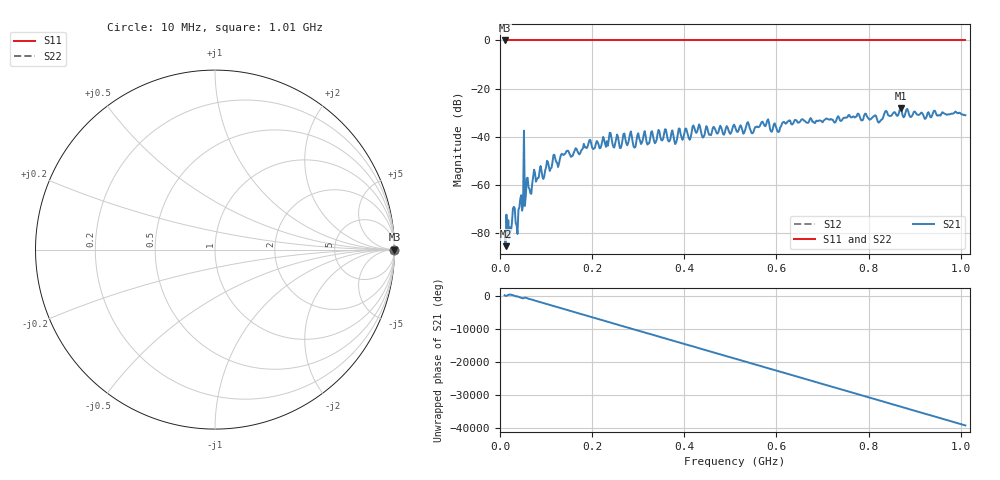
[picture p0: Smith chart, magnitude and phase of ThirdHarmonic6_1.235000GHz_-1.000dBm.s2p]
! 8/16/2025 1:04:42 PM
! C:\ANRITSUVNA\TEMP\TEMP.S2P
! CHANNEL.1
! TR.MEASUREMENT
! RAW.DATA
! RF.CORRECTION.OFF
! AVERAGING.OFF
! IF.BANDWIDTH: 5KHZ
! SWEEPTYPE:  FREQ.SWEEP(Linear)
! Reference Plane Port Info
! PORT:  PORT1  PORT2
! DISTANCE:  0  m  0  m
! TIME:  0  s  0  s
! PHASE.OFFSET:  0  deg.  0  deg.
! LOSS:  0  dB  0  dB
! REF.LOSS:  0  dB  0  dB
! REF.FREQ:  0  Hz  0  Hz
! Power Info
! POWER:  -20  dBm  -20  dBm
! EFF.POWER:  -20  dBm  -20  dBm
! SOURCE.ATTEN:  0  dB  0  dB
! TEST.ATTEN:  0  dB  0  dB
# GHZ S RI R 50.0
! FREQ.GHZ  S11RE  S11IM  S21RE  S21IM  S12RE  S12IM  S22RE  S22IM
!; PortSelection: Port_12
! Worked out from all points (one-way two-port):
!   501 points, 10 MHz to 1.01 GHz, reference 50 ohm
!   highest |S21| = -28.19 dB at 870 MHz (marker M1); lowest = -85.6 dB at 12 MHz (marker M2)
!   lowest |S11| = 0.0 dB at 10 MHz (marker M3)
!   |S11| at or under -10 dB: nowhere
!   |S22| runs from 0.0 to 0.0 dB; largest |S21 - S12| = 1
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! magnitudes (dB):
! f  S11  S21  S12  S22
! 10 MHz  0.0  -80.2  0.0  0.0
! 12 MHz  0.0  -85.6  0.0  0.0
! 30 MHz  0.0  -69.2  0.0  0.0
! 38 MHz  0.0  -80.6  0.0  0.0
! 46 MHz  0.0  -64.4  0.0  0.0
! 48 MHz  0.0  -70.8  0.0  0.0
! 52 MHz  0.0  -37.6  0.0  0.0
! 56 MHz  0.0  -64.7  0.0  0.0
! 58 MHz  0.0  -57.4  0.0  0.0
! 66 MHz  0.0  -63.7  0.0  0.0
! 74 MHz  0.0  -53.8  0.0  0.0
! 118 MHz  0.0  -47.6  0.0  0.0
! 178 MHz  0.0  -45.4  0.0  0.0
! 344 MHz  0.0  -37.2  0.0  0.0
! 380 MHz  0.0  -43.1  0.0  0.0
! 420 MHz  0.0  -35.4  0.0  0.0
! 440 MHz  0.0  -40.4  0.0  0.0
! 510 MHz  0.0  -35.8  0.0  0.0
! 678 MHz  0.0  -33.8  0.0  0.0
! 844 MHz  0.0  -31.3  0.0  0.0
! 870 MHz  0.0  -28.2  0.0  0.0
! 1.01 GHz  0.0  -31.1  0.0  0.0
